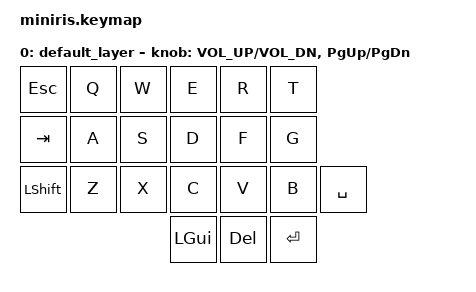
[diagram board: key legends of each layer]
#include <behaviors.dtsi>
#include <dt-bindings/zmk/keys.h>
#include <dt-bindings/zmk/bt.h>

/ {
    keymap {
        compatible = "zmk,keymap";

        default_layer {
// --------------------------------------------------------------------------------------------------------------------------------------------------------------------
// |   A  |   B   |
// |   C  |    D  |
            bindings = <
    &kp ESC     &kp Q    &kp W    &kp E     &kp R     &kp T  
    &kp TAB     &kp A    &kp S    &kp D     &kp F     &kp G 
    &kp LSHIFT  &kp Z    &kp X    &kp C     &kp V     &kp B     &kp SPACE   
                                  &kp LGUI  &kp DEL   &kp RET 
            >;

            sensor-bindings = <&inc_dec_kp C_VOL_UP C_VOL_DN &inc_dec_kp PG_UP PG_DN>;
        };
    };
};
